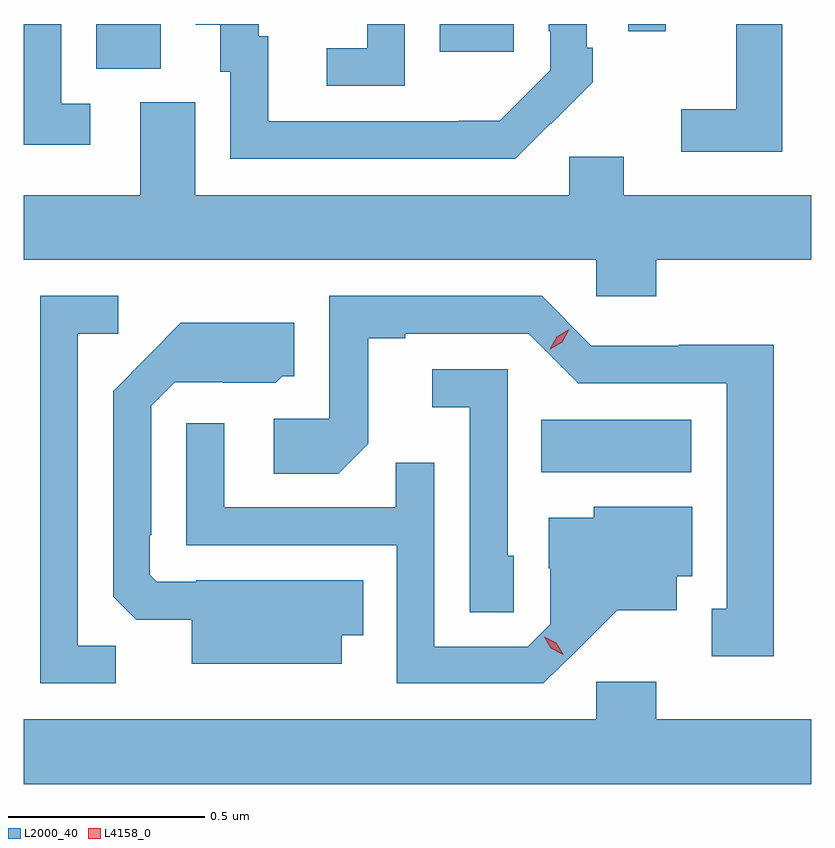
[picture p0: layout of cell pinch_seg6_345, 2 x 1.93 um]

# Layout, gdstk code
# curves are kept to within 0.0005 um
import gdstk
lib = gdstk.Library(unit=1e-6, precision=1e-09)
def R(c, l, rs):  # rectangles x0, y0, x1, y1
    for r in rs: c.add(gdstk.rectangle(r[:2], r[2:], *l))
def P(c, l, *ps):  # polygons
    for p in ps: c.add(gdstk.Polygon(p, *l))
L2000_40 = (2000, 40)
L4158_0 = (4158, 0)

pinch_seg6_345 = lib.new_cell('pinch_seg6_345')
R(pinch_seg6_345, L2000_40, [(749.866,941.468,750.247,941.602), (748.736,942.493,748.9,942.607), (749.609,942.537,749.797,942.607), (750.087,942.588,750.183,942.607)])
P(pinch_seg6_345, L2000_40, [(749.891,942.355),(749.892,942.354),(749.997,942.459),(749.997,942.547),(749.982,942.547),(749.982,942.607),(749.886,942.607),(749.886,942.589),(749.889,942.589),(749.889,942.489),(749.761,942.361),(749.657,942.361),(749.657,942.36),(749.173,942.36),(749.173,942.576),(749.149,942.576),(749.149,942.607),(748.988,942.607),(748.988,942.605),(749.051,942.605),(749.051,942.486),(749.076,942.486),(749.076,942.264),(749.8,942.264)],
  [(748.72,942.405),(748.647,942.405),(748.647,942.607),(748.552,942.607),(748.552,942.3),(748.72,942.3)],
  [(750.479,942.607),(750.362,942.607),(750.362,942.391),(750.222,942.391),(750.222,942.282),(750.479,942.282)],
  [(749.52,942.607),(749.424,942.607),(749.424,942.546),(749.322,942.546),(749.322,942.45),(749.52,942.45)],
  [(750.158,942.008),(750.552,942.008),(750.552,942.172),(750.076,942.172),(750.076,942.27),(749.937,942.27),(749.937,942.172),(748.987,942.172),(748.987,942.408),(748.847,942.408),(748.847,942.172),(748.552,942.172),(748.552,942.008),(750.006,942.008),(750.006,941.915),(750.158,941.915)],
  [(748.785,941.027),(748.689,941.027),(748.689,941.82),(748.792,941.82),(748.792,941.916),(748.593,941.916),(748.593,940.932),(748.785,940.932)],
  [(750.457,941.792),(750.216,941.792),(750.216,941.79),(749.994,941.79),(749.868,941.916),(749.328,941.916),(749.328,941.604),(749.187,941.604),(749.187,941.464),(749.351,941.464),(749.427,941.54),(749.427,941.808),(749.521,941.808),(749.521,941.82),(749.835,941.82),(749.961,941.694),(750.338,941.694),(750.338,941.121),(750.299,941.121),(750.299,941.001),(750.457,941.001)],
  [(749.359,941.054),(749.414,941.054),(749.414,941.194),(748.99,941.194),(748.99,941.19),(748.89,941.19),(748.872,941.208),(748.872,941.308),(748.875,941.308),(748.875,941.637),(748.935,941.697),(749.058,941.697),(749.058,941.696),(749.192,941.696),(749.208,941.712),(749.239,941.712),(749.239,941.848),(748.951,941.848),(748.779,941.674),(748.779,941.152),(748.838,941.093),(748.979,941.093),(748.979,940.982),(749.359,940.982)],
  [(749.796,941.256),(749.781,941.256),(749.781,941.73),(749.589,941.73),(749.589,941.633),(749.685,941.633),(749.685,941.113),(749.796,941.113)],
  [(749.956,941.015),(750.059,941.117),(750.211,941.117),(750.211,941.204),(750.25,941.204),(750.25,941.38),(750,941.38),(750,941.353),(749.885,941.353),(749.885,941.224),(749.889,941.224),(749.889,941.082),(749.832,941.025),(749.595,941.025),(749.595,941.492),(749.497,941.492),(749.497,941.379),(749.061,941.379),(749.061,941.593),(748.965,941.593),(748.965,941.283),(749.499,941.283),(749.499,940.932),(749.872,940.932)],
  [(750.552,940.84),(750.158,940.84),(750.158,940.936),(750.006,940.936),(750.006,940.84),(748.552,940.84),(748.552,940.676),(750.552,940.676)])
P(pinch_seg6_345, L4158_0, [(749.888,941.78),(749.888,941.78),(749.906,941.813),(749.938,941.831),(749.938,941.831),(749.938,941.831),(749.92,941.799),(749.889,941.78)],
  [(749.922,941.005),(749.891,941.021),(749.874,941.05),(749.874,941.05),(749.874,941.05),(749.905,941.035),(749.922,941.006),(749.922,941.005)])

lib.write_gds('pinch_seg6_345.gds')
